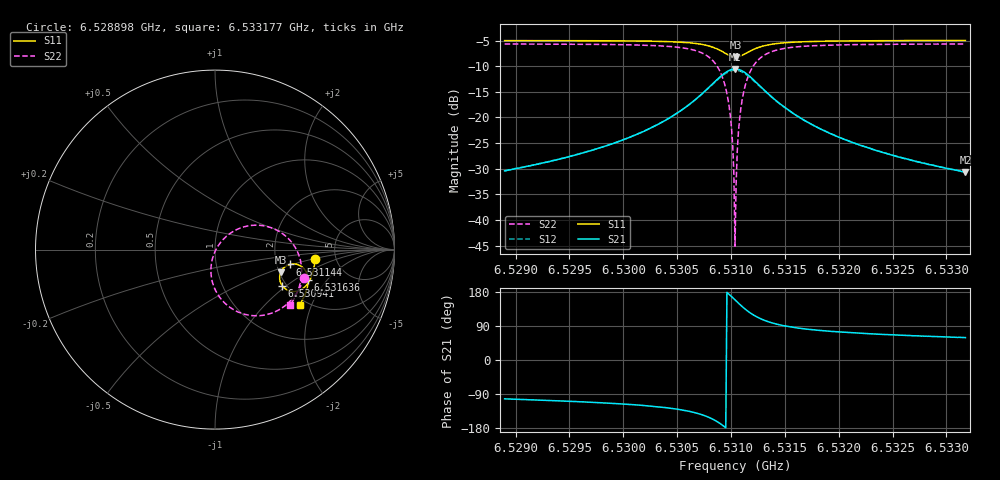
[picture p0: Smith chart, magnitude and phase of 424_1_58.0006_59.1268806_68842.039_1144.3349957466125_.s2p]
#  HZ  S  RI  R  50.00
! Rohde & Schwarz Vector Network Analyzer
! Rohde-Schwarz,ZNB20-2Port,1311601062101988,3.16
! Created: UTC 3/21/2024, 1:09:16 AM
! freq[Hz]  re:S11  im:S11  re:S21  im:S21  re:S12  im:S12  re:S22  im:S22
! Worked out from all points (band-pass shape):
!   401 points, 6.528898 GHz to 6.533177 GHz, reference 50 ohm
!   highest |S21| = -10.55 dB at 6.531037 GHz (marker M1); lowest = -30.7 dB at 6.533177 GHz (marker M2)
!   |S21| within 3 dB of the highest: 6.530825 GHz to 6.531252 GHz (427.7 kHz wide, 0.00655 % of centre)
!   lowest |S11| = -8.2 dB at 6.531048 GHz (marker M3), VSWR 2.26, Z = 102 - j30.3 ohm
!   |S11| at or under -10 dB: nowhere
!   |S22| runs from -45.1 to -5.7 dB; largest |S21 - S12| = 0.011
!   S11 on the Smith chart (normalised r, x): 6.528898 GHz: 3.46, -0.54; 6.530941 GHz: 1.90, -0.93; 6.531144 GHz: 2.36, -0.48; 6.531636 GHz: 2.71, -1.29; 6.533177 GHz: 1.82, -1.65
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6.528898e9  0.5585 -0.0536  -0.0065 -0.0294  -0.00708 -0.0293  0.4963 -0.1566
6.5296147e9  0.5487 -0.1127  -0.0155 -0.0419  -0.0166 -0.0417  0.4668 -0.2225
6.5303313e9  0.521 -0.1825  -0.0482 -0.072  -0.0501 -0.0707  0.3881 -0.3145
6.5307592e9  0.4522 -0.2319  -0.1521 -0.0978  -0.1545 -0.0918  0.1876 -0.3652
6.5308661e9  0.4089 -0.2275  -0.2196 -0.0727  -0.219 -0.0639  0.0723 -0.3137
6.530941e9  0.3751 -0.2015  -0.2696 -0.0164  -0.2646 -0.00714  -0.0044 -0.2112
6.5309945e9  0.3608 -0.167  -0.2865 0.0489  -0.2778 0.056  -0.0224 -0.0997
6.5310052e9  0.3602 -0.159  -0.2863 0.0637  -0.2771 0.0698  -0.0198 -0.0757
6.5310159e9  0.3603 -0.1508  -0.2847 0.0783  -0.2749 0.0837  -0.0145 -0.0514
6.5310266e9  0.3614 -0.1428  -0.2814 0.0933  -0.2714 0.0974  -0.00701 -0.0276
6.5310373e9  0.3632 -0.1347  -0.2768 0.1075  -0.2666 0.1111  0.00287 -0.00474
6.531048e9  0.3659 -0.1268  -0.2708 0.1215  -0.2605 0.124  0.0152 0.0172
6.5310587e9  0.3695 -0.1193  -0.2632 0.1345  -0.2533 0.1363  0.0293 0.0377
6.5310694e9  0.3737 -0.1124  -0.2546 0.1469  -0.2448 0.1477  0.0453 0.0566
6.5310908e9  0.3844 -0.1004  -0.2346 0.1682  -0.2255 0.1675  0.0816 0.0885
6.5311442e9  0.4164 -0.0826  -0.1763 0.1998  -0.1699 0.1972  0.1832 0.1318
6.5312084e9  0.4527 -0.0816  -0.1122 0.2042  -0.1085 0.2012  0.2917 0.1282
6.5313047e9  0.4887 -0.0998  -0.0491 0.1797  -0.0474 0.1779  0.3955 0.0737
6.5316363e9  0.519 -0.1672  0.0109 0.0994  0.0117 0.0992  0.4816 -0.093
6.5317539e9  0.5185 -0.1841  0.0149 0.0836  0.0158 0.0834  0.4832 -0.128
6.5324706e9  0.4988 -0.2559  0.0172 0.0401  0.018 0.0399  0.4555 -0.2444
6.5331766e9  0.4714 -0.308  0.0151 0.0251  0.0155 0.0249  0.4203 -0.306
